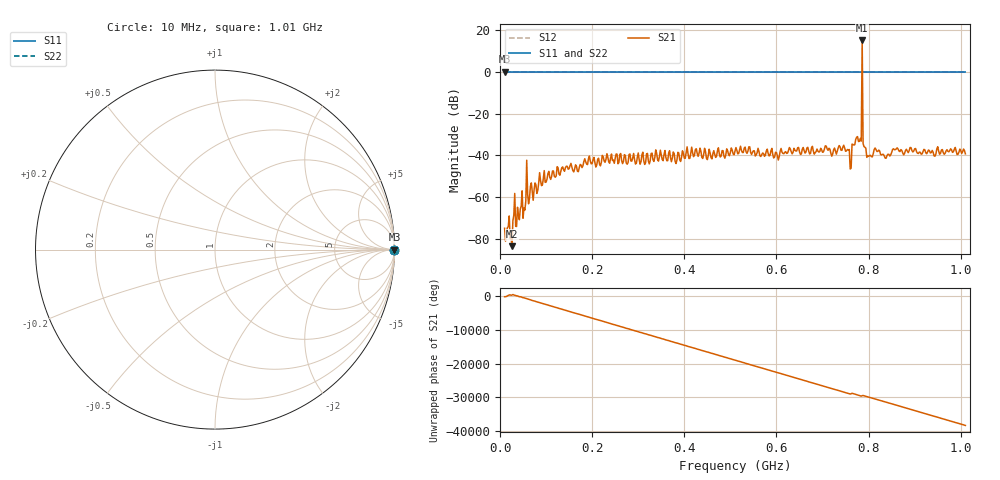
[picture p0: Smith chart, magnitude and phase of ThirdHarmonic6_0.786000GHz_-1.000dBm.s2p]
! 8/16/2025 2:14:23 AM
! C:\ANRITSUVNA\TEMP\TEMP.S2P
! CHANNEL.1
! TR.MEASUREMENT
! RAW.DATA
! RF.CORRECTION.OFF
! AVERAGING.OFF
! IF.BANDWIDTH: 5KHZ
! SWEEPTYPE:  FREQ.SWEEP(Linear)
! Reference Plane Port Info
! PORT:  PORT1  PORT2
! DISTANCE:  0  m  0  m
! TIME:  0  s  0  s
! PHASE.OFFSET:  0  deg.  0  deg.
! LOSS:  0  dB  0  dB
! REF.LOSS:  0  dB  0  dB
! REF.FREQ:  0  Hz  0  Hz
! Power Info
! POWER:  -20  dBm  -20  dBm
! EFF.POWER:  -20  dBm  -20  dBm
! SOURCE.ATTEN:  0  dB  0  dB
! TEST.ATTEN:  0  dB  0  dB
# GHZ S RI R 50.0
! FREQ.GHZ  S11RE  S11IM  S21RE  S21IM  S12RE  S12IM  S22RE  S22IM
!; PortSelection: Port_12
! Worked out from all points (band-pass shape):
!   501 points, 10 MHz to 1.01 GHz, reference 50 ohm
!   highest |S21| = 14.89 dB at 786 MHz (marker M1); lowest = -83.3 dB at 26 MHz (marker M2)
!   |S21| within 3 dB of the highest: 785.8752 MHz to 786.1218 MHz (246.7 kHz wide, 0.0314 % of centre)
!   lowest |S11| = 0.0 dB at 10 MHz (marker M3)
!   |S11| at or under -10 dB: nowhere
!   |S22| runs from 0.0 to 0.0 dB; largest |S21 - S12| = 4.7
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0.01  1 0  -2.27e-05 -0.000181  1 0  1 0
0.026  1 0  4.84e-05 4.82e-05  1 0  1 0
0.034  1 0  2.51e-05 -0.000202  1 0  1 0
0.038  1 0  -0.000481 0.000323  1 0  1 0
0.062  1 0  -0.000611 -0.000345  1 0  1 0
0.178  1 0  -0.00508 -0.000691  1 0  1 0
0.344  1 0  0.00681 -0.00271  1 0  1 0
0.51  1 0  -0.0112 0.00581  1 0  1 0
0.678  1 0  -0.0128 -0.0104  1 0  1 0
0.742  1 0  -0.0131 0.00156  1 0  1 0
0.758  1 0  -0.00615 -0.0124  1 0  1 0
0.768  1 0  -0.0151 -0.00913  1 0  1 0
0.78  1 0  0.00796 0.0202  1 0  1 0
0.782  1 0  0.0242 -0.008  1 0  1 0
0.786  1 0  4.676 2.993  1 0  1 0
0.79  1 0  0.0162 -0.000346  1 0  1 0
0.792  1 0  0.00245 -0.0155  1 0  1 0
0.8  1 0  0.00802 -0.00507  1 0  1 0
0.816  1 0  0.00844 0.011  1 0  1 0
0.844  1 0  0.00984 0.00397  1 0  1 0
0.858  1 0  -0.0138 -0.000775  1 0  1 0
1.01  1 0  -0.0109 0.000148  1 0  1 0
